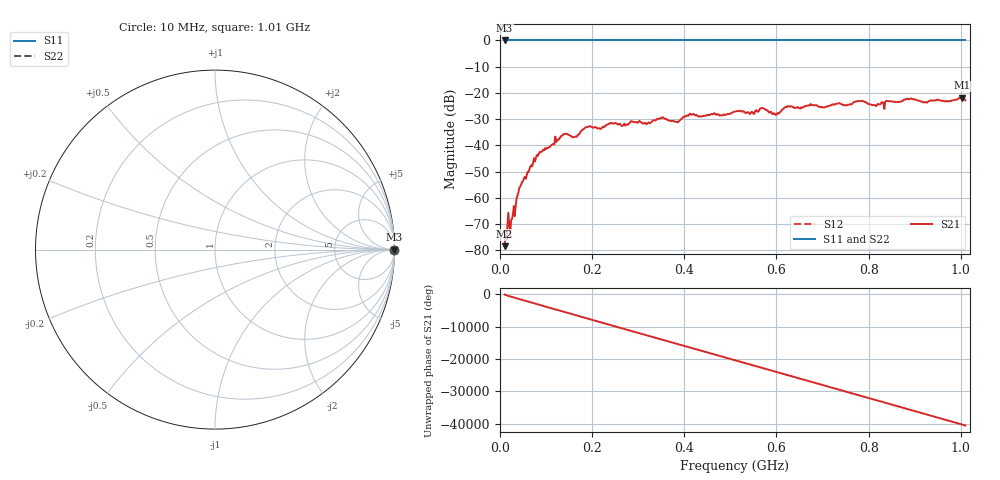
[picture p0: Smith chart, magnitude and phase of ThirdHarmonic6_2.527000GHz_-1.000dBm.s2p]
! 8/17/2025 5:01:01 AM
! C:\ANRITSUVNA\TEMP\TEMP.S2P
! CHANNEL.1
! TR.MEASUREMENT
! RAW.DATA
! RF.CORRECTION.OFF
! AVERAGING.OFF
! IF.BANDWIDTH: 5KHZ
! SWEEPTYPE:  FREQ.SWEEP(Linear)
! Reference Plane Port Info
! PORT:  PORT1  PORT2
! DISTANCE:  0  m  0  m
! TIME:  0  s  0  s
! PHASE.OFFSET:  0  deg.  0  deg.
! LOSS:  0  dB  0  dB
! REF.LOSS:  0  dB  0  dB
! REF.FREQ:  0  Hz  0  Hz
! Power Info
! POWER:  -20  dBm  -20  dBm
! EFF.POWER:  -20  dBm  -20  dBm
! SOURCE.ATTEN:  0  dB  0  dB
! TEST.ATTEN:  0  dB  0  dB
# GHZ S RI R 50.0
! FREQ.GHZ  S11RE  S11IM  S21RE  S21IM  S12RE  S12IM  S22RE  S22IM
!; PortSelection: Port_12
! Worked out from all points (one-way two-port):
!   501 points, 10 MHz to 1.01 GHz, reference 50 ohm
!   highest |S21| = -21.82 dB at 1.002 GHz (marker M1); lowest = -78.4 dB at 10 MHz (marker M2)
!   lowest |S11| = 0.0 dB at 10 MHz (marker M3)
!   |S11| at or under -10 dB: nowhere
!   |S22| runs from 0.0 to 0.0 dB; largest |S21 - S12| = 1.1
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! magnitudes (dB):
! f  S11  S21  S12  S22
! 10 MHz  0.0  -78.4  0.0  0.0
! 16 MHz  0.0  -70.9  0.0  0.0
! 24 MHz  0.0  -68.7  0.0  0.0
! 44 MHz  0.0  -55.7  0.0  0.0
! 82 MHz  0.0  -44.0  0.0  0.0
! 138 MHz  0.0  -35.7  0.0  0.0
! 162 MHz  0.0  -36.7  0.0  0.0
! 178 MHz  0.0  -34.2  0.0  0.0
! 344 MHz  0.0  -29.9  0.0  0.0
! 384 MHz  0.0  -31.0  0.0  0.0
! 416 MHz  0.0  -28.3  0.0  0.0
! 510 MHz  0.0  -27.1  0.0  0.0
! 548 MHz  0.0  -27.3  0.0  0.0
! 570 MHz  0.0  -25.8  0.0  0.0
! 596 MHz  0.0  -27.9  0.0  0.0
! 624 MHz  0.0  -25.0  0.0  0.0
! 678 MHz  0.0  -24.7  0.0  0.0
! 784 MHz  0.0  -23.1  0.0  0.0
! 814 MHz  0.0  -24.8  0.0  0.0
! 844 MHz  0.0  -23.1  0.0  0.0
! 1.002 GHz  0.0  -21.8  0.0  0.0
! 1.01 GHz  0.0  -22.8  0.0  0.0
